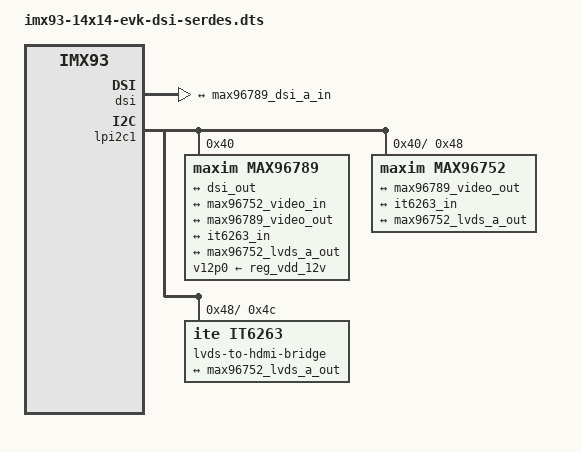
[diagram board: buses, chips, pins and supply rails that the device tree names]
// SPDX-License-Identifier: (GPL-2.0+ OR MIT)
/*
 * Copyright 2022 NXP
 */

#include "imx93-14x14-evk.dts"

&adv7535 {
	status = "disabled";
};

/delete-node/ &dsi_to_adv7535;
/delete-node/ &adv7535_to_dsi;

&dsi {
	status = "okay";

	ports {
		port@1 {
			reg = <1>;

			dsi_out: endpoint {
				remote-endpoint = <&max96789_dsi_a_in>;
			};
		};
	};
};

&lpi2c1 {
	max96789: mipi_dsi_serializer@40 {
		#address-cells = <1>;
		#size-cells = <0>;

		compatible = "maxim,max96789";
		reg = <0x40>;
		v12p0-supply = <&reg_vdd_12v>;
		status = "okay";

		maxim,gmsl-links-types = <2 2>;
		maxim,gmsl2-link-speed = <6>;
		maxim,gmsl2-dual-link;

		/* DSI port 0 */
		max96789_dsi_bridge@0 {
			#address-cells = <1>;
			#size-cells = <0>;

			reg = <0>;

			compatible = "maxim,max96789-dsi";

			port {
				#address-cells = <1>;
				#size-cells = <0>;

				max96789_dsi_a_in: endpoint@0 {
					reg = <0>;

					remote-endpoint = <&dsi_out>;
					data-lanes = <1 2 3 4>;
				};

				max96789_video_out: endpoint@1 {
					reg = <1>;

					remote-endpoint = <&max96752_video_in>;
				};
			};
		};

		i2c-mux {
			#address-cells = <1>;
			#size-cells = <0>;

			/* gmsl a */
			i2c@0 {
				#address-cells = <1>;
				#size-cells = <0>;

				reg = <0>;

				max96752: mipi_dsi_deserializer@48 {
					#address-cells = <1>;
					#size-cells = <0>;

					compatible = "maxim,max96752";
					reg = <0x48>;
					status = "okay";

					maxim,gmsl2-link-speed = <6>;
					maxim,gmsl2-dual-link;

					max96752_lvds_bridge {
						#address-cells = <1>;
						#size-cells = <0>;

						compatible = "maxim,max96752-lvds";

						port {
							#address-cells = <1>;
							#size-cells = <0>;

							max96752_video_in: endpoint@0 {
								reg = <0>;

								remote-endpoint = <&max96789_video_out>;
							};

							max96752_lvds_a_out: endpoint@1 {
								reg = <1>;

								remote-endpoint = <&it6263_in>;
							};
						};
					};

					i2c-gate {
						#address-cells = <1>;
						#size-cells = <0>;

						lvds-to-hdmi-bridge@4c {
							compatible = "ite,it6263";
							reg = <0x4c>;

							port {
								it6263_in: endpoint {
									remote-endpoint = <&max96752_lvds_a_out>;
								};
							};
						};
					};
				};
			};
		};
	};
};
